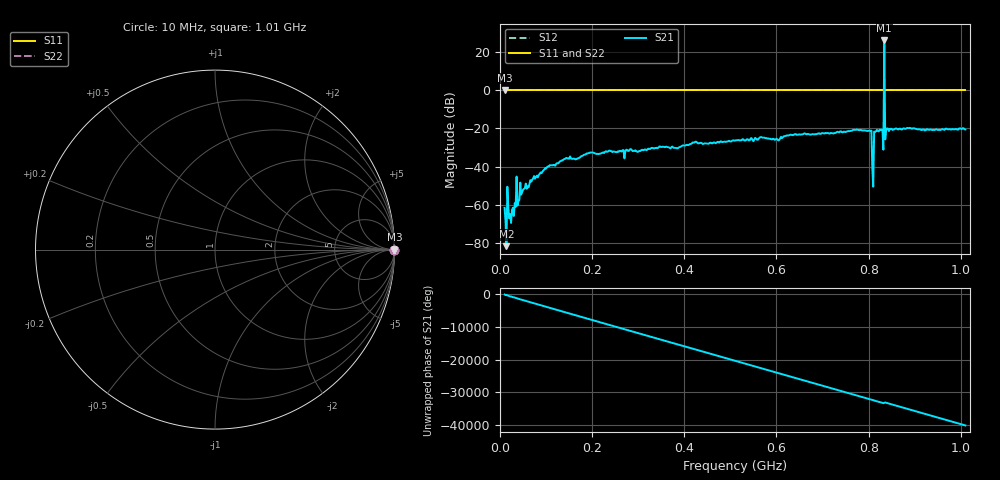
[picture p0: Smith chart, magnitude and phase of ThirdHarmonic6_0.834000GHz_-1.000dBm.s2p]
! 8/16/2025 3:40:50 AM
! C:\ANRITSUVNA\TEMP\TEMP.S2P
! CHANNEL.1
! TR.MEASUREMENT
! RAW.DATA
! RF.CORRECTION.OFF
! AVERAGING.OFF
! IF.BANDWIDTH: 5KHZ
! SWEEPTYPE:  FREQ.SWEEP(Linear)
! Reference Plane Port Info
! PORT:  PORT1  PORT2
! DISTANCE:  0  m  0  m
! TIME:  0  s  0  s
! PHASE.OFFSET:  0  deg.  0  deg.
! LOSS:  0  dB  0  dB
! REF.LOSS:  0  dB  0  dB
! REF.FREQ:  0  Hz  0  Hz
! Power Info
! POWER:  -20  dBm  -20  dBm
! EFF.POWER:  -20  dBm  -20  dBm
! SOURCE.ATTEN:  0  dB  0  dB
! TEST.ATTEN:  0  dB  0  dB
# GHZ S RI R 50.0
! FREQ.GHZ  S11RE  S11IM  S21RE  S21IM  S12RE  S12IM  S22RE  S22IM
!; PortSelection: Port_12
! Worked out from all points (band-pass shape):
!   501 points, 10 MHz to 1.01 GHz, reference 50 ohm
!   highest |S21| = 25.88 dB at 834 MHz (marker M1); lowest = -81.4 dB at 14 MHz (marker M2)
!   |S21| within 3 dB of the highest: 833.8947 MHz to 834.1163 MHz (221.6 kHz wide, 0.0266 % of centre)
!   lowest |S11| = 0.0 dB at 10 MHz (marker M3)
!   |S11| at or under -10 dB: nowhere
!   |S22| runs from 0.0 to 0.0 dB; largest |S21 - S12| = 21
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0.01  1 0  -0.000327 -0.000782  1 0  1 0
0.014  1 0  -8.5e-06 8.43e-05  1 0  1 0
0.026  1 0  5.97e-05 -0.00074  1 0  1 0
0.04  1 0  0.00114 0.000539  1 0  1 0
0.042  1 0  0.00106 -0.000868  1 0  1 0
0.048  1 0  0.000726 0.00204  1 0  1 0
0.1  1 0  -0.00283 0.0085  1 0  1 0
0.178  1 0  -0.019 -0.00122  1 0  1 0
0.344  1 0  0.0291 -0.0128  1 0  1 0
0.51  1 0  -0.0355 0.0322  1 0  1 0
0.678  1 0  -0.0615 -0.0353  1 0  1 0
0.802  1 0  -0.0419 -0.0778  1 0  1 0
0.806  1 0  0.0117 0.0866  1 0  1 0
0.812  1 0  -0.0798 -0.0225  1 0  1 0
0.816  1 0  0.0628 0.0559  1 0  1 0
0.828  1 0  0.0103 -0.0924  1 0  1 0
0.83  1 0  -0.0872 -0.028  1 0  1 0
0.834  1 0  -16.84 -10.18  1 0  1 0
0.838  1 0  -0.0596 -0.0771  1 0  1 0
0.84  1 0  -0.0865 0.0501  1 0  1 0
0.844  1 0  0.0821 -0.0232  1 0  1 0
1.01  1 0  -0.0586 0.0737  1 0  1 0
